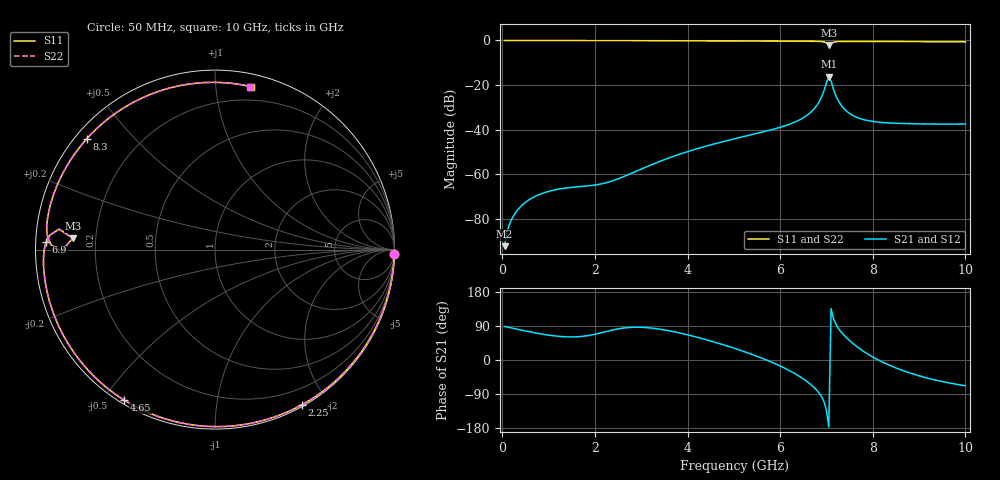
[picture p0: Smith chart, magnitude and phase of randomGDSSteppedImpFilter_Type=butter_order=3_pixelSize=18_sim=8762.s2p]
! freq	dB(S11)	phase(S11)	dB(S12)	phase(S12)
!  dB(S21)	phase(S21)	dB(S22)	phase(S22)
!S-par simulation data
#  GHz  S  DB  R 50
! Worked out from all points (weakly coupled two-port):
!   200 points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, 50 MHz to 10 GHz, reference 50 ohm
!   highest |S21| = -16.24 dB at 7.05 GHz (marker M1); lowest = -92.3 dB at 50 MHz (marker M2)
!   lowest |S11| = -2.0 dB at 7.05 GHz (marker M3), VSWR 8.70, Z = 5.76 + j1.97 ohm
!   |S11| at or under -10 dB: nowhere
!   |S22| runs from -2.0 to 0.0 dB; largest |S21 - S12| = 0
!   S11 on the Smith chart (normalised r, x): 50 MHz: 0, -82; 2.25 GHz: 0.02, -1.71; 4.65 GHz: 0.01, -0.56; 6.9 GHz: 0.03, +0.02; 8.3 GHz: 0.03, +0.37; 10 GHz: 0.09, +1.24
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0.05  -0.00 -1.4  -92.29 88.5  -92.29 88.5  -0.00 -1.4
0.2  -0.01 -5.5  -80.30 84.6  -80.30 84.6  -0.01 -5.5
0.45  -0.02 -12.4  -73.48 77.9  -73.48 77.9  -0.02 -12.4
0.8  -0.03 -22.0  -69.13 69.5  -69.13 69.5  -0.03 -22.0
1.75  -0.06 -47.5  -65.45 62.7  -65.45 62.7  -0.06 -47.5
2.25  -0.08 -60.7  -63.80 75.3  -63.80 75.3  -0.08 -60.7
3.4  -0.12 -90.1  -54.26 81.4  -54.26 81.4  -0.12 -90.1
4.65  -0.18 -121.2  -46.00 44.7  -46.00 44.7  -0.18 -121.2
5.05  -0.20 -131.2  -43.93 29.3  -43.93 29.3  -0.20 -131.2
6.2  -0.29 -160.9  -37.60 -27.9  -37.60 -27.9  -0.29 -160.9
6.7  -0.36 -175.2  -31.43 -68.8  -31.43 -68.8  -0.36 -175.2
6.9  -0.52 177.5  -25.10 -97.9  -25.10 -97.9  -0.52 177.5
7  -1.15 172.5  -18.91 -133.8  -18.91 -133.8  -1.15 172.6
7.05  -2.01 175.4  -16.24 -177.1  -16.24 -177.1  -2.00 175.5
7.1  -1.35 -179.5  -18.23 135.6  -18.23 135.6  -1.35 -179.5
7.25  -0.51 173.7  -26.82 84.8  -26.82 84.8  -0.51 173.8
7.45  -0.44 166.5  -31.99 56.8  -31.99 56.8  -0.44 166.6
7.8  -0.45 155.3  -35.51 22.8  -35.51 22.8  -0.45 155.4
8.3  -0.50 139.1  -36.94 -10.7  -36.94 -10.7  -0.50 139.2
8.35  -0.50 137.5  -37.00 -13.4  -37.00 -13.4  -0.50 137.6
9.25  -0.58 105.9  -37.50 -49.9  -37.50 -49.9  -0.58 106.1
10  -0.63 77.5  -37.46 -67.9  -37.46 -67.9  -0.63 77.7
